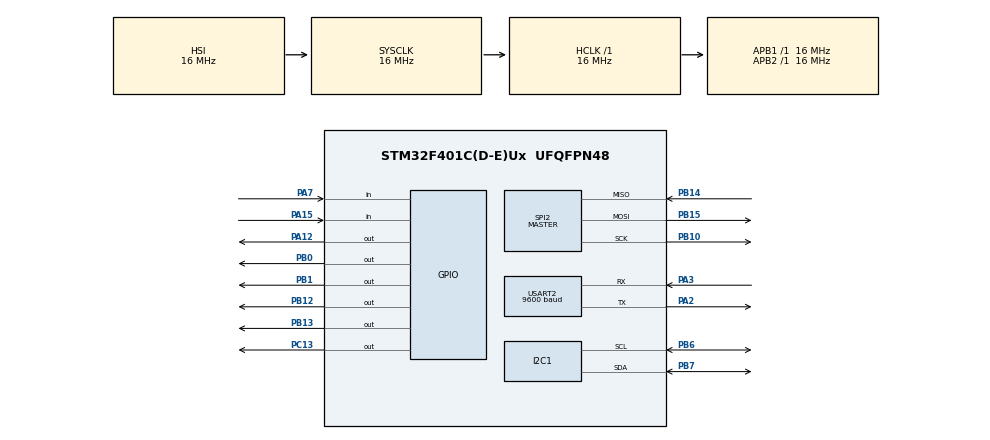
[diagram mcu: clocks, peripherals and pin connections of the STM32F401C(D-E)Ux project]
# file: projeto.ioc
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FREERTOS.Tasks01=defaultTask,24,128,StartDefaultTask,Default,NULL,Dynamic,NULL,NULL
FREERTOS.configUSE_NEWLIB_REENTRANT=1
Mcu.Family=STM32F4
Mcu.Name=STM32F401C(D-E)Ux
Mcu.Package=UFQFPN48
NVIC.PriorityGroup=NVIC_PRIORITYGROUP_4
NVIC.TIM1_UP_TIM10_IRQn=true\:15\:0\:false\:false\:true\:false\:false\:true\:true
NVIC.TimeBase=TIM1_UP_TIM10_IRQn
NVIC.TimeBaseIP=TIM1
PA12.Signal=GPIO_Output
PA13.Mode=Serial_Wire
PA13.Signal=SYS_JTMS-SWDIO
PA14.Mode=Serial_Wire
PA14.Signal=SYS_JTCK-SWCLK
PA15.Signal=GPIO_Input
PA2.Mode=Asynchronous
PA2.Signal=USART2_TX
PA3.Mode=Asynchronous
PA3.Signal=USART2_RX
PA7.Signal=GPIO_Input
PB0.Signal=GPIO_Output
PB1.Signal=GPIO_Output
PB10.Mode=Full_Duplex_Master
PB10.Signal=SPI2_SCK
PB12.Signal=GPIO_Output
PB13.Signal=GPIO_Output
PB14.Mode=Full_Duplex_Master
PB14.Signal=SPI2_MISO
PB15.Mode=Full_Duplex_Master
PB15.Signal=SPI2_MOSI
PB6.Mode=I2C
PB6.Signal=I2C1_SCL
PB7.Mode=I2C
PB7.Signal=I2C1_SDA
PC13-ANTI_TAMP.Signal=GPIO_Output
PH0\ -\ OSC_IN.Mode=HSE-External-Oscillator
PH0\ -\ OSC_IN.Signal=RCC_OSC_IN
PH1\ -\ OSC_OUT.Mode=HSE-External-Oscillator
PH1\ -\ OSC_OUT.Signal=RCC_OSC_OUT
ProjectManager.HeapSize=0x200
ProjectManager.StackSize=0x400
ProjectManager.TargetToolchain=STM32CubeIDE
RCC.AHBFreq_Value=16000000
RCC.APB1Freq_Value=16000000
RCC.APB2Freq_Value=16000000
RCC.CortexFreq_Value=16000000
RCC.HSE_VALUE=25000000
RCC.HSI_VALUE=16000000
RCC.LSE_VALUE=32768
RCC.SYSCLKFreq_VALUE=16000000
RCC.VCOOutputFreq_Value=192000000
SPI2.BaudRatePrescaler=SPI_BAUDRATEPRESCALER_16
SPI2.CLKPhase=SPI_PHASE_2EDGE
SPI2.CLKPolarity=SPI_POLARITY_HIGH
SPI2.Direction=SPI_DIRECTION_2LINES
SPI2.Mode=SPI_MODE_MASTER
SPI2.VirtualType=VM_MASTER
USART2.BaudRate=9600
USART2.VirtualMode=VM_ASYNC
VP_FREERTOS_VS_CMSIS_V2.Mode=CMSIS_V2
VP_SYS_VS_tim1.Mode=TIM1
board=custom

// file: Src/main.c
/* USER CODE BEGIN Header */
/**
  ******************************************************************************
  * @file           : main.c
  * @brief          : Main program body
  ******************************************************************************
  * @attention
  *
  * Copyright (c) 2026 STMicroelectronics.
  * All rights reserved.
  *
  * This software is licensed under terms that can be found in the LICENSE file
  * in the root directory of this software component.
  * If no LICENSE file comes with this software, it is provided AS-IS.
  *
  ******************************************************************************
  */
/* USER CODE END Header */
#include "main.h"
#include "cmsis_os.h"

/* USER CODE BEGIN Includes */
#include "lora.h"
#include "lapesp-types.h"
#include "lapesp-protocol.h"
#include "sensor-data.h"
#include <string.h>
#include <stdio.h>

#include "BME280_STM32.h"

/* USER CODE END Includes */

/* USER CODE BEGIN PTD */
Sensores_Data_t sensor_data;
BME_Data_t bme_data;
BNO085_Data_t bno_data;
GPS_Data_t gps_data;

BME280_Data_t bme280;
/* USER CODE END PTD */

I2C_HandleTypeDef hi2c1;

UART_HandleTypeDef huart2;

/* Definitions for defaultTask */
osThreadId_t defaultTaskHandle;
const osThreadAttr_t defaultTask_attributes = {
  .name = "defaultTask",
  .stack_size = 128 * 4,
  .priority = (osPriority_t) osPriorityNormal,
};

void SystemClock_Config(void);
static void MX_GPIO_Init(void);
static void MX_I2C1_Init(void);
static void MX_SPI2_Init(void);
static void MX_USART2_UART_Init(void);
void StartDefaultTask(void *argument);

/* USER CODE BEGIN PFP */
void Task_Blink(void *arg);
void Task_BME(void *arg);
/* USER CODE END PFP */

/* USER CODE BEGIN 0 */
void Sensor_Init(void)
{

  //Init structure definition section
	BME280_Init_t BME280_InitStruct = {0};

	//Reset section
	Reset_BME280();

	/*============================ *BME280 Initialization* ============================*/

	BME280_InitStruct.Filter = FILTER_8;     				//FILTER_X
	BME280_InitStruct.Mode = BME280_NORMAL_MODE;		 	//SLEEP, NORMAL or FORCE can be written
	BME280_InitStruct.OverSampling_H = OVERSAMPLING_16;		//OVERSAMPLING_X
	BME280_InitStruct.OverSampling_P = OVERSAMPLING_16;		//OVERSAMPLING_X
	BME280_InitStruct.OverSampling_T = OVERSAMPLING_16;		//OVERSAMPLING_X
	BME280_InitStruct.SPI_EnOrDıs = SPI3_W_DISABLE;			//SPI3_W_DISABLE or SPI3_W_ENABLE can be written
	BME280_InitStruct.T_StandBy = T_SB_250;					//T_SB_X

	BME280Init(BME280_InitStruct);
}
/* USER CODE END 0 */

int main(void)
{

  /* MCU Configuration--------------------------------------------------------*/

  /* Reset of all peripherals, Initializes the Flash interface and the Systick. */
  HAL_Init();

  /* Configure the system clock */
  SystemClock_Config();

  /* Initialize all configured peripherals */
  MX_GPIO_Init();
  MX_I2C1_Init();
  MX_SPI2_Init();
  MX_USART2_UART_Init();
  /* USER CODE BEGIN 2 */
  Sensores_Data_Init(&sensor_data, &bme_data, &bno_data, &gps_data);
  Sensor_Init();

  /* USER CODE END 2 */

  /* Init scheduler */
  osKernelInitialize();

  /* Create the thread(s) */
  /* creation of defaultTask */
  defaultTaskHandle = osThreadNew(StartDefaultTask, NULL, &defaultTask_attributes);

  /* USER CODE BEGIN RTOS_THREADS */
  osThreadNew(Task_Blink, NULL, NULL);
  osThreadNew(Task_BME, &bme280, NULL);
  /* USER CODE END RTOS_THREADS */

  /* Start scheduler */
  osKernelStart();

  /* We should never get here as control is now taken by the scheduler */

  /* Infinite loop */
  while (1)
  {

  }
}

void SystemClock_Config(void)
{
  RCC_OscInitTypeDef RCC_OscInitStruct = {0};
  RCC_ClkInitTypeDef RCC_ClkInitStruct = {0};

  /** Configure the main internal regulator output voltage
  */
  __HAL_RCC_PWR_CLK_ENABLE();
  __HAL_PWR_VOLTAGESCALING_CONFIG(PWR_REGULATOR_VOLTAGE_SCALE2);

  /** Initializes the RCC Oscillators according to the specified parameters
  * in the RCC_OscInitTypeDef structure.
  */
  RCC_OscInitStruct.OscillatorType = RCC_OSCILLATORTYPE_HSI;
  RCC_OscInitStruct.HSIState = RCC_HSI_ON;
  RCC_OscInitStruct.HSICalibrationValue = RCC_HSICALIBRATION_DEFAULT;
  RCC_OscInitStruct.PLL.PLLState = RCC_PLL_NONE;
  if (HAL_RCC_OscConfig(&RCC_OscInitStruct) != HAL_OK)
  {
    Error_Handler();
  }

  /** Initializes the CPU, AHB and APB buses clocks
  */
  RCC_ClkInitStruct.ClockType = RCC_CLOCKTYPE_HCLK|RCC_CLOCKTYPE_SYSCLK
                              |RCC_CLOCKTYPE_PCLK1|RCC_CLOCKTYPE_PCLK2;
  RCC_ClkInitStruct.SYSCLKSource = RCC_SYSCLKSOURCE_HSI;
  RCC_ClkInitStruct.AHBCLKDivider = RCC_SYSCLK_DIV1;
  RCC_ClkInitStruct.APB1CLKDivider = RCC_HCLK_DIV1;
  RCC_ClkInitStruct.APB2CLKDivider = RCC_HCLK_DIV1;

  if (HAL_RCC_ClockConfig(&RCC_ClkInitStruct, FLASH_LATENCY_0) != HAL_OK)
  {
    Error_Handler();
  }
}

static void MX_I2C1_Init(void)
{

  hi2c1.Instance = I2C1;
  hi2c1.Init.ClockSpeed = 100000;
  hi2c1.Init.DutyCycle = I2C_DUTYCYCLE_2;
  hi2c1.Init.OwnAddress1 = 0;
  hi2c1.Init.AddressingMode = I2C_ADDRESSINGMODE_7BIT;
  hi2c1.Init.DualAddressMode = I2C_DUALADDRESS_DISABLE;
  hi2c1.Init.OwnAddress2 = 0;
  hi2c1.Init.GeneralCallMode = I2C_GENERALCALL_DISABLE;
  hi2c1.Init.NoStretchMode = I2C_NOSTRETCH_DISABLE;
  if (HAL_I2C_Init(&hi2c1) != HAL_OK)
  {
    Error_Handler();
  }

}

static void MX_SPI2_Init(void)
{

  LL_SPI_InitTypeDef SPI_InitStruct = {0};

  LL_GPIO_InitTypeDef GPIO_InitStruct = {0};

  /* Peripheral clock enable */
  LL_APB1_GRP1_EnableClock(LL_APB1_GRP1_PERIPH_SPI2);

  LL_AHB1_GRP1_EnableClock(LL_AHB1_GRP1_PERIPH_GPIOB);
  /**SPI2 GPIO Configuration
  PB10   ------> SPI2_SCK
  PB14   ------> SPI2_MISO
  PB15   ------> SPI2_MOSI
  */
  GPIO_InitStruct.Pin = LL_GPIO_PIN_10|LL_GPIO_PIN_14|LL_GPIO_PIN_15;
  GPIO_InitStruct.Mode = LL_GPIO_MODE_ALTERNATE;
  GPIO_InitStruct.Speed = LL_GPIO_SPEED_FREQ_VERY_HIGH;
  GPIO_InitStruct.OutputType = LL_GPIO_OUTPUT_PUSHPULL;
  GPIO_InitStruct.Pull = LL_GPIO_PULL_NO;
  GPIO_InitStruct.Alternate = LL_GPIO_AF_5;
  LL_GPIO_Init(GPIOB, &GPIO_InitStruct);

  /* SPI2 parameter configuration*/
  SPI_InitStruct.TransferDirection = LL_SPI_FULL_DUPLEX;
  SPI_InitStruct.Mode = LL_SPI_MODE_MASTER;
  SPI_InitStruct.DataWidth = LL_SPI_DATAWIDTH_8BIT;
  SPI_InitStruct.ClockPolarity = LL_SPI_POLARITY_HIGH;
  SPI_InitStruct.ClockPhase = LL_SPI_PHASE_2EDGE;
  SPI_InitStruct.NSS = LL_SPI_NSS_SOFT;
  SPI_InitStruct.BaudRate = LL_SPI_BAUDRATEPRESCALER_DIV16;
  SPI_InitStruct.BitOrder = LL_SPI_MSB_FIRST;
  SPI_InitStruct.CRCCalculation = LL_SPI_CRCCALCULATION_DISABLE;
  SPI_InitStruct.CRCPoly = 10;
  LL_SPI_Init(SPI2, &SPI_InitStruct);
  LL_SPI_SetStandard(SPI2, LL_SPI_PROTOCOL_MOTOROLA);

}

static void MX_USART2_UART_Init(void)
{

  huart2.Instance = USART2;
  huart2.Init.BaudRate = 9600;
  huart2.Init.WordLength = UART_WORDLENGTH_8B;
  huart2.Init.StopBits = UART_STOPBITS_1;
  huart2.Init.Parity = UART_PARITY_NONE;
  huart2.Init.Mode = UART_MODE_TX_RX;
  huart2.Init.HwFlowCtl = UART_HWCONTROL_NONE;
  huart2.Init.OverSampling = UART_OVERSAMPLING_16;
  if (HAL_UART_Init(&huart2) != HAL_OK)
  {
    Error_Handler();
  }

}

static void MX_GPIO_Init(void)
{
  LL_GPIO_InitTypeDef GPIO_InitStruct = {0};

  /* GPIO Ports Clock Enable */
  LL_AHB1_GRP1_EnableClock(LL_AHB1_GRP1_PERIPH_GPIOC);
  LL_AHB1_GRP1_EnableClock(LL_AHB1_GRP1_PERIPH_GPIOH);
  LL_AHB1_GRP1_EnableClock(LL_AHB1_GRP1_PERIPH_GPIOA);
  LL_AHB1_GRP1_EnableClock(LL_AHB1_GRP1_PERIPH_GPIOB);

  /**/
  LL_GPIO_ResetOutputPin(GPIOC, LL_GPIO_PIN_13);

  /**/
  LL_GPIO_ResetOutputPin(GPIOB, LL_GPIO_PIN_0|LL_GPIO_PIN_1|LL_GPIO_PIN_12|LL_GPIO_PIN_13);

  /**/
  LL_GPIO_ResetOutputPin(GPIOA, LL_GPIO_PIN_12);

  /**/
  GPIO_InitStruct.Pin = LL_GPIO_PIN_13;
  GPIO_InitStruct.Mode = LL_GPIO_MODE_OUTPUT;
  GPIO_InitStruct.Speed = LL_GPIO_SPEED_FREQ_LOW;
  GPIO_InitStruct.OutputType = LL_GPIO_OUTPUT_PUSHPULL;
  GPIO_InitStruct.Pull = LL_GPIO_PULL_NO;
  LL_GPIO_Init(GPIOC, &GPIO_InitStruct);

  /**/
  GPIO_InitStruct.Pin = LL_GPIO_PIN_7|LL_GPIO_PIN_15;
  GPIO_InitStruct.Mode = LL_GPIO_MODE_INPUT;
  GPIO_InitStruct.Pull = LL_GPIO_PULL_NO;
  LL_GPIO_Init(GPIOA, &GPIO_InitStruct);

  /**/
  GPIO_InitStruct.Pin = LL_GPIO_PIN_0|LL_GPIO_PIN_1|LL_GPIO_PIN_12|LL_GPIO_PIN_13;
  GPIO_InitStruct.Mode = LL_GPIO_MODE_OUTPUT;
  GPIO_InitStruct.Speed = LL_GPIO_SPEED_FREQ_LOW;
  GPIO_InitStruct.OutputType = LL_GPIO_OUTPUT_PUSHPULL;
  GPIO_InitStruct.Pull = LL_GPIO_PULL_NO;
  LL_GPIO_Init(GPIOB, &GPIO_InitStruct);

  /**/
  GPIO_InitStruct.Pin = LL_GPIO_PIN_12;
  GPIO_InitStruct.Mode = LL_GPIO_MODE_OUTPUT;
  GPIO_InitStruct.Speed = LL_GPIO_SPEED_FREQ_LOW;
  GPIO_InitStruct.OutputType = LL_GPIO_OUTPUT_PUSHPULL;
  GPIO_InitStruct.Pull = LL_GPIO_PULL_NO;
  LL_GPIO_Init(GPIOA, &GPIO_InitStruct);

}

/* USER CODE BEGIN 4 */
void Task_Blink(void *arg){
	(void)arg;

	while(1){
		HAL_GPIO_TogglePin(GPIOC, GPIO_PIN_13);
		osDelay(500);
	}
}

void Task_BME(void *arg){
	//(void)arg;
	BME280_Data_t *sensor = (BME280_Data_t *)arg;
	LapespDTO payload;
	LapespPacket pacote;
	memset(&payload, 0, sizeof(LapespDTO));

	BME280Calculation(sensor);

	while(1){

		payload.BME_temperatura = sensor->Temperature;
        pacote = encode_packet(
            TYPE_LAPESP_DTO,
            (const uint8_t *)&payload,
            sizeof(LapespDTO)
        );

        HAL_UART_Transmit(
            &huart2,
            pacote.out_buffer,
            pacote.out_len,
            HAL_MAX_DELAY
        );
        osDelay(1000);

	}
}

/* USER CODE END 4 */

void StartDefaultTask(void *argument)
{
  for(;;)
  {
    osDelay(1);
  }
}

void HAL_TIM_PeriodElapsedCallback(TIM_HandleTypeDef *htim)
{
  if (htim->Instance == TIM1)
  {
    HAL_IncTick();
  }
}

void Error_Handler(void)
{
  __disable_irq();
  while (1)
  {
  }
}
